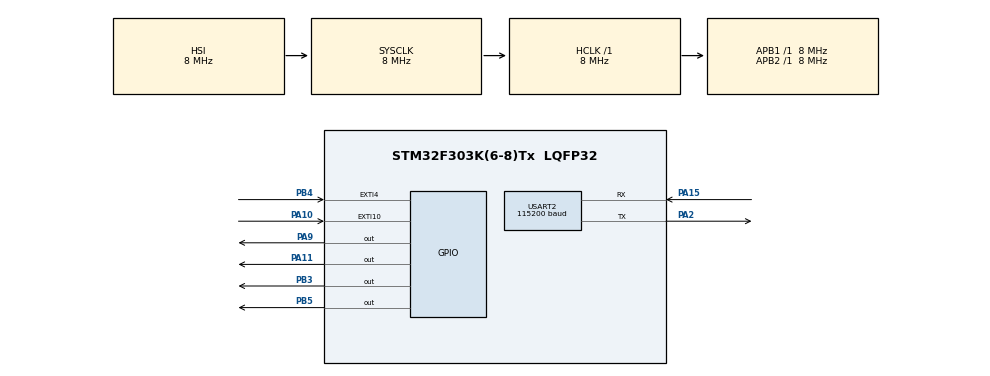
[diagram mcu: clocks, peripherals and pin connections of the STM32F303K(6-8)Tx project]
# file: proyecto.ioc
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Mcu.Family=STM32F3
Mcu.Name=STM32F303K(6-8)Tx
Mcu.Package=LQFP32
NVIC.EXTI15_10_IRQn=true\:0\:0\:false\:false\:true\:true\:true\:true
NVIC.EXTI4_IRQn=true\:0\:0\:false\:false\:true\:true\:true\:true
NVIC.PriorityGroup=NVIC_PRIORITYGROUP_4
NVIC.USART2_IRQn=true\:0\:0\:false\:false\:true\:true\:true\:true
PA10.GPIO_ModeDefaultEXTI=GPIO_MODE_IT_FALLING
PA10.GPIO_PuPd=GPIO_PULLUP
PA10.Signal=GPXTI10
PA11.Signal=GPIO_Output
PA15.Mode=Asynchronous
PA15.Signal=USART2_RX
PA2.Mode=Asynchronous
PA2.Signal=USART2_TX
PA9.Signal=GPIO_Output
PB3.Signal=GPIO_Output
PB4.GPIO_ModeDefaultEXTI=GPIO_MODE_IT_FALLING
PB4.GPIO_PuPd=GPIO_PULLUP
PB4.Signal=GPXTI4
PB5.Signal=GPIO_Output
ProjectManager.HeapSize=0x200
ProjectManager.StackSize=0x400
ProjectManager.TargetToolchain=STM32CubeIDE
RCC.AHBFreq_Value=8000000
RCC.APB1Freq_Value=8000000
RCC.APB2Freq_Value=8000000
RCC.CortexFreq_Value=8000000
RCC.HSE_VALUE=8000000
RCC.HSI_VALUE=8000000
RCC.SYSCLKFreq_VALUE=8000000
USART2.BaudRate=115200
USART2.VirtualMode-Asynchronous=VM_ASYNC
board=custom

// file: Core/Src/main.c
/* USER CODE BEGIN Header */
/**
 ******************************************************************************
 * @file           : main.c
 * @brief          : Main program body
 ******************************************************************************
 * @attention
 *
 * Copyright (c) 2024 STMicroelectronics.
 * All rights reserved.
 *
 * This software is licensed under terms that can be found in the LICENSE file
 * in the root directory of this software component.
 * If no LICENSE file comes with this software, it is provided AS-IS.
 *
 ******************************************************************************
 */
/* USER CODE END Header */
#include "main.h"

UART_HandleTypeDef huart2;

void SystemClock_Config(void);
static void MX_GPIO_Init(void);
static void MX_USART2_UART_Init(void);

/* USER CODE BEGIN 0 */

uint32_t pulsado1 = 0;
uint32_t pulsado2 = 0;

uint8_t send1[] = "1"; //Dato a enviar: 1
uint8_t send2[] = "2"; // Dato a enviar: 2

uint8_t rx_buff[4];
uint8_t serial_LED1 = 0;
uint8_t serial_LED2 = 0;
uint8_t serial_LED_start = 0;

/* USER CODE END 0 */

int main(void) {

	/* MCU Configuration--------------------------------------------------------*/

	/* Reset of all peripherals, Initializes the Flash interface and the Systick. */
	HAL_Init();

	/* Configure the system clock */
	SystemClock_Config();

	/* Initialize all configured peripherals */
	MX_GPIO_Init();
	MX_USART2_UART_Init();
	/* USER CODE BEGIN 2 */
	HAL_UART_Receive_IT(&huart2, rx_buff, 4);

	/* USER CODE END 2 */

	/* Infinite loop */
	/* USER CODE BEGIN WHILE */
	while (1) {

		if (pulsado1 == 1) {
			pulsado1 = 0;
			HAL_UART_Transmit(&huart2, send1, sizeof(send1), 10); // enviar datos por uart

		}
		if (pulsado2 == 1) {
			pulsado2 = 0;
			HAL_UART_Transmit(&huart2, send2, sizeof(send2), 10); // enviar datos por uart
		}

		if (serial_LED_start == 1) { //SI MANDAS LED3 SERIAL_LED_START=1
			HAL_GPIO_WritePin(GPIOA, GPIO_PIN_11, 1);
		}
		if (serial_LED_start == 0) { // SI MANDAS NED3 SERIAL_LED_START=0
			HAL_GPIO_WritePin(GPIOA, GPIO_PIN_11, 0);

		}

		if (serial_LED1 == 1) {
			serial_LED1 = 0;
			HAL_GPIO_TogglePin(GPIOB, GPIO_PIN_5);
			HAL_Delay(500);
			HAL_GPIO_TogglePin(GPIOB, GPIO_PIN_5);
		}
		if (serial_LED2 == 1) {
			serial_LED2 = 0;
			HAL_GPIO_TogglePin(GPIOA, GPIO_PIN_9);
			HAL_Delay(500);
			HAL_GPIO_TogglePin(GPIOA, GPIO_PIN_9);

		}
		/* USER CODE END WHILE */

	}
}

void SystemClock_Config(void) {
	RCC_OscInitTypeDef RCC_OscInitStruct = { 0 };
	RCC_ClkInitTypeDef RCC_ClkInitStruct = { 0 };

	/** Initializes the RCC Oscillators according to the specified parameters
	 * in the RCC_OscInitTypeDef structure.
	 */
	RCC_OscInitStruct.OscillatorType = RCC_OSCILLATORTYPE_HSI;
	RCC_OscInitStruct.HSIState = RCC_HSI_ON;
	RCC_OscInitStruct.HSICalibrationValue = RCC_HSICALIBRATION_DEFAULT;
	RCC_OscInitStruct.PLL.PLLState = RCC_PLL_NONE;
	if (HAL_RCC_OscConfig(&RCC_OscInitStruct) != HAL_OK) {
		Error_Handler();
	}

	/** Initializes the CPU, AHB and APB buses clocks
	 */
	RCC_ClkInitStruct.ClockType = RCC_CLOCKTYPE_HCLK | RCC_CLOCKTYPE_SYSCLK
			| RCC_CLOCKTYPE_PCLK1 | RCC_CLOCKTYPE_PCLK2;
	RCC_ClkInitStruct.SYSCLKSource = RCC_SYSCLKSOURCE_HSI;
	RCC_ClkInitStruct.AHBCLKDivider = RCC_SYSCLK_DIV1;
	RCC_ClkInitStruct.APB1CLKDivider = RCC_HCLK_DIV1;
	RCC_ClkInitStruct.APB2CLKDivider = RCC_HCLK_DIV1;

	if (HAL_RCC_ClockConfig(&RCC_ClkInitStruct, FLASH_LATENCY_0) != HAL_OK) {
		Error_Handler();
	}
}

static void MX_USART2_UART_Init(void) {

	huart2.Instance = USART2;
	huart2.Init.BaudRate = 115200;
	huart2.Init.WordLength = UART_WORDLENGTH_8B;
	huart2.Init.StopBits = UART_STOPBITS_1;
	huart2.Init.Parity = UART_PARITY_NONE;
	huart2.Init.Mode = UART_MODE_TX_RX;
	huart2.Init.HwFlowCtl = UART_HWCONTROL_NONE;
	huart2.Init.OverSampling = UART_OVERSAMPLING_16;
	huart2.Init.OneBitSampling = UART_ONE_BIT_SAMPLE_DISABLE;
	huart2.AdvancedInit.AdvFeatureInit = UART_ADVFEATURE_NO_INIT;
	if (HAL_UART_Init(&huart2) != HAL_OK) {
		Error_Handler();
	}

}

static void MX_GPIO_Init(void) {
	GPIO_InitTypeDef GPIO_InitStruct = { 0 };

	/* GPIO Ports Clock Enable */
	__HAL_RCC_GPIOA_CLK_ENABLE();
	__HAL_RCC_GPIOB_CLK_ENABLE();

	/*Configure GPIO pin Output Level */
	HAL_GPIO_WritePin(GPIOA, GPIO_PIN_9 | GPIO_PIN_11, GPIO_PIN_RESET);

	/*Configure GPIO pin Output Level */
	HAL_GPIO_WritePin(GPIOB, GPIO_PIN_3 | GPIO_PIN_5, GPIO_PIN_RESET);

	/*Configure GPIO pins : PA9 PA11 */
	GPIO_InitStruct.Pin = GPIO_PIN_9 | GPIO_PIN_11;
	GPIO_InitStruct.Mode = GPIO_MODE_OUTPUT_PP;
	GPIO_InitStruct.Pull = GPIO_NOPULL;
	GPIO_InitStruct.Speed = GPIO_SPEED_FREQ_LOW;
	HAL_GPIO_Init(GPIOA, &GPIO_InitStruct);

	/*Configure GPIO pin : PA10 */
	GPIO_InitStruct.Pin = GPIO_PIN_10;
	GPIO_InitStruct.Mode = GPIO_MODE_IT_FALLING;
	GPIO_InitStruct.Pull = GPIO_PULLUP;
	HAL_GPIO_Init(GPIOA, &GPIO_InitStruct);

	/*Configure GPIO pins : PB3 PB5 */
	GPIO_InitStruct.Pin = GPIO_PIN_3 | GPIO_PIN_5;
	GPIO_InitStruct.Mode = GPIO_MODE_OUTPUT_PP;
	GPIO_InitStruct.Pull = GPIO_NOPULL;
	GPIO_InitStruct.Speed = GPIO_SPEED_FREQ_LOW;
	HAL_GPIO_Init(GPIOB, &GPIO_InitStruct);

	/*Configure GPIO pin : PB4 */
	GPIO_InitStruct.Pin = GPIO_PIN_4;
	GPIO_InitStruct.Mode = GPIO_MODE_IT_FALLING;
	GPIO_InitStruct.Pull = GPIO_PULLUP;
	HAL_GPIO_Init(GPIOB, &GPIO_InitStruct);

	/* EXTI interrupt init*/
	HAL_NVIC_SetPriority(EXTI4_IRQn, 0, 0);
	HAL_NVIC_EnableIRQ(EXTI4_IRQn);

	HAL_NVIC_SetPriority(EXTI15_10_IRQn, 0, 0);
	HAL_NVIC_EnableIRQ(EXTI15_10_IRQn);

}

/* USER CODE BEGIN 4 */

void HAL_GPIO_EXTI_Callback(uint16_t GPIO_Pin)
{
 if(GPIO_Pin == GPIO_PIN_4) { // se ha pulsado el pulsador de PB4
 pulsado1 = 1;
 }
 if(GPIO_Pin == GPIO_PIN_10) { // se ha pulsado el pulsador de PA9
 pulsado2 = 1;
 }
}

void HAL_UART_RxCpltCallback(UART_HandleTypeDef *huart) {

	HAL_UART_Receive_IT(&huart2, rx_buff, 4);
	if (strncmp((char*) rx_buff, "LED1", 4) == 0) {
		serial_LED1 = 1;
	}
	if (strncmp((char*) rx_buff, "LED2", 4) == 0) {
		serial_LED2 = 1;
	}
	if (strncmp((char*) rx_buff, "LED3", 4) == 0) {
		serial_LED_start = 1;
	}
	if (strncmp((char*) rx_buff, "NED3", 4) == 0) {
		serial_LED_start = 0;
	}
}

/* USER CODE END 4 */

void Error_Handler(void) {
	__disable_irq();
	while (1) {
	}
}
